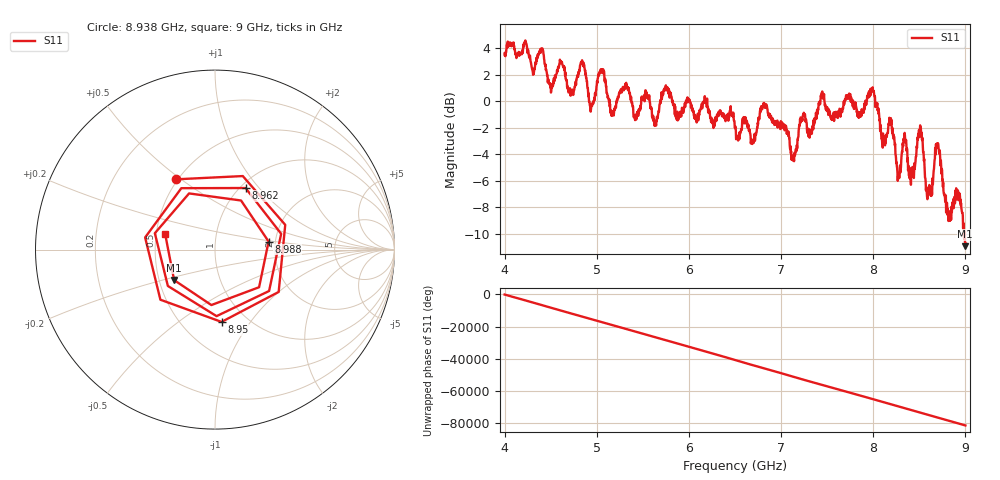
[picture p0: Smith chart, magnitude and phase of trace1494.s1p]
! Created with skrf 1.8.0 (http://scikit-rf.org).
# Hz S RI R 50.0
!freq ReS11 ImS11
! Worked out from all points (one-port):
!   1601 points, 4 GHz to 9 GHz, reference 50 ohm
!   lowest |S11| = -10.9 dB at 8.997 GHz (marker M1), VSWR 1.79, Z = 29.9 - j11.1 ohm
!   |S11| at or under -10 dB: 8.983419 GHz to 8.99006 GHz (6.642 MHz wide, 0.0739 % of centre); 8.992491 GHz to end of sweep
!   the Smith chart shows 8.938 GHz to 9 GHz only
!   S11 on the Smith chart (normalised r, x): 8.938 GHz: 0.49, +0.48; 8.95 GHz: 0.77, -0.74; 8.962 GHz: 1.06, +0.85; 8.988 GHz: 1.84, +0.18; 9 GHz: 0.56, +0.11
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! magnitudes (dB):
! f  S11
! 4 GHz  3.6
! 4.625 GHz  2.8
! 4.728 GHz  0.6
! 4.85 GHz  2.9
! 4.941 GHz  -0.4
! 5.047 GHz  2.2
! 5.166 GHz  -1.1
! 5.25 GHz  0.6
! 5.875 GHz  -0.8
! 6.5 GHz  -2.0
! 6.697 GHz  -3.0
! 6.825 GHz  -0.3
! 7.125 GHz  -4.2
! 7.441 GHz  0.6
! 7.75 GHz  0.5
! 7.994 GHz  1.0
! 8.275 GHz  -5.7
! 8.375 GHz  -4.3
! 8.509 GHz  -1.8
! 8.597 GHz  -6.9
! 8.697 GHz  -3.2
! 8.816 GHz  -9.0
! 8.938 GHz  -7.0
! 8.95 GHz  -7.9
! 8.962 GHz  -8.3
! 8.988 GHz  -10.4
! 8.997 GHz  -10.9
! 9 GHz  -10.7
